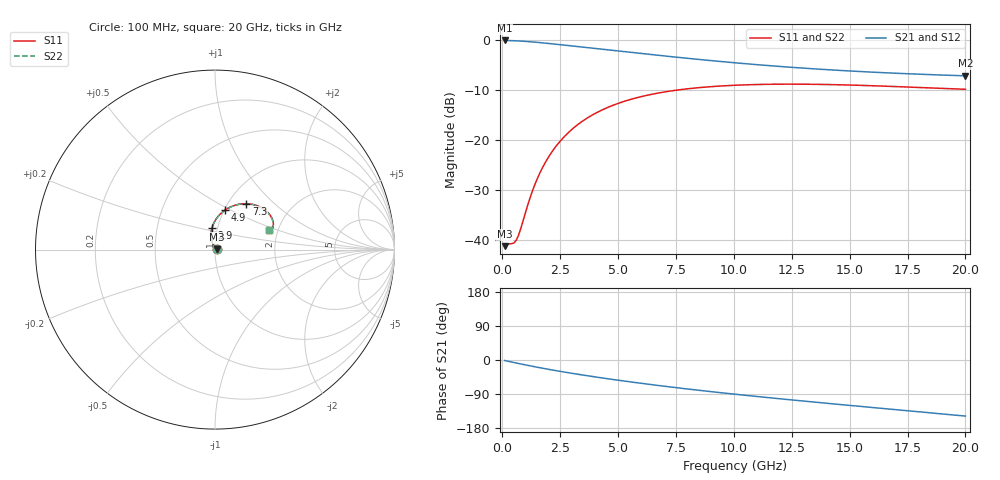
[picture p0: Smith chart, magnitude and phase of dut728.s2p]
! Touchstone file exported from HFSS 2024.1.0
!  File:  C:/UserFiles/LocalFiles/RDL_TSV_Batchsim/temp_RDL_TSV_728_1779892482.aedt
!  Generated:  10:50:39 PM May 27, 2026
!  Design:  RDL_TSV
!  Project:  temp_RDL_TSV_728_1779892482
!  Setup:  Setup1
!  Solution:  Sweep
! Variables:
!  dtsv = 9.1um
!  hbump = 3um
!  htsv = 59.29um
!  ldown = 268.37um
!  lrdl = 336.87um
!  p = 40
!  p1 = 54.47um
!  rhole = 10um
!  subl = 2152.59um
!  t = 450um
!  tdown = 4.2um
!  trdl = 4.87um
!  viad = 10um
!  wdown = 25.62um
!  wrdl = 19.86um
!  xbump = 18um
# GHz S MA R 50.000000
! Terminal data exported
! Port[1] = TM1_1_T1
! Port[2] = TM1_4_T1
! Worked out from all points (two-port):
!   200 points, 100 MHz to 20 GHz, reference 50 ohm
!   highest |S21| = -0.08 dB at 100 MHz (marker M1); lowest = -7.2 dB at 20 GHz (marker M2)
!   |S21| within 3 dB of the highest: start of sweep to 6.795 GHz
!   lowest |S11| = -41.2 dB at 100 MHz (marker M3), VSWR 1.02, Z = 50.9 + j0.171 ohm
!   |S11| at or under -10 dB: start of sweep to 7.559 GHz
!   |S22| runs from -41.2 to -8.8 dB; largest |S21 - S12| = 9.7e-15
!   S11 on the Smith chart (normalised r, x): 100 MHz: 1.02, +0.00; 2.9 GHz: 0.94, +0.23; 4.9 GHz: 1.01, +0.47; 7.3 GHz: 1.21, +0.69; 20 GHz: 1.80, +0.43
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0.1  0.008677 11.1  0.9911 -1.4  0.9911 -1.4  0.008677 11.1
! Gamma 0 0 0 0
! Port Impedance 50 0 50 0
0.5  0.009339 49.8  0.9848 -6.6  0.9848 -6.6  0.00934 49.7
0.6  0.009916 62.8  0.9824 -7.9  0.9824 -7.9  0.009915 62.7
0.7  0.01113 75.4  0.9797 -9.2  0.9797 -9.2  0.01113 75.4
0.8  0.01305 86.2  0.9768 -10.5  0.9768 -10.5  0.01305 86.1
1.1  0.02243 104.3  0.9662 -14.2  0.9662 -14.2  0.02241 104.3
1.3  0.03085 108.7  0.9581 -16.6  0.9581 -16.6  0.03081 108.7
1.7  0.05092 109.9  0.9398 -21.3  0.9398 -21.3  0.05085 109.9
2.2  0.07949 106.0  0.9149 -26.9  0.9149 -26.9  0.07939 106.0
2.9  0.1215 97.9  0.8791 -34.1  0.8791 -34.1  0.1214 97.9
3.5  0.1566 90.7  0.8489 -39.9  0.8489 -39.9  0.1564 90.7
4.2  0.1945 82.8  0.8149 -46.3  0.8149 -46.3  0.1942 82.8
4.9  0.2281 75.5  0.7823 -52.5  0.7823 -52.5  0.2278 75.5
5.8  0.2647 67.2  0.7425 -59.9  0.7425 -59.9  0.2644 67.2
6.8  0.2971 59.2  0.7015 -67.7  0.7015 -67.7  0.2967 59.2
7.3  0.3102 55.5  0.6822 -71.5  0.6822 -71.5  0.3098 55.5
8.7  0.3376 46.7  0.6331 -81.4  0.6331 -81.4  0.3371 46.7
10.1  0.3537 39.5  0.5909 -90.7  0.5909 -90.7  0.3532 39.5
11.7  0.3616 32.9  0.5508 -100.6  0.5508 -100.6  0.3611 32.9
13.4  0.3612 27.4  0.5165 -110.7  0.5165 -110.7  0.3606 27.4
16.7  0.3447 20.9  0.469 -129.4  0.469 -129.4  0.3441 20.9
20  0.3219 19.5  0.4388 -148.0  0.4388 -148.0  0.3213 19.5
